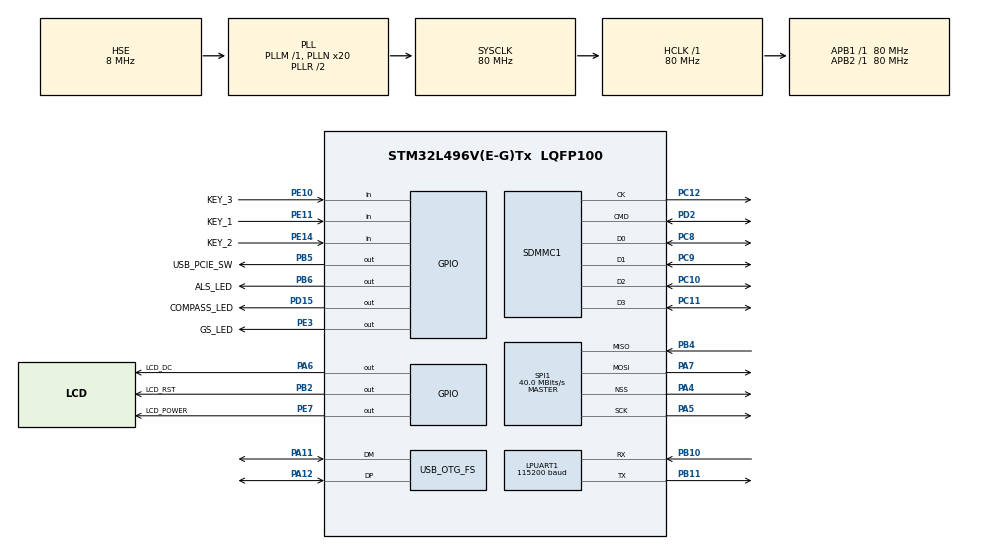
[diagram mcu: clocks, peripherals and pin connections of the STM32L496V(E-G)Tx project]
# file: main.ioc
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FATFS._CODE_PAGE=936
FATFS._USE_FIND=1
FATFS._USE_FORWARD=1
FATFS._USE_LABEL=1
FATFS._USE_LFN=2
LPUART1.BaudRate=115200
LPUART1.WordLength=UART_WORDLENGTH_8B
Mcu.Family=STM32L4
Mcu.Name=STM32L496V(E-G)Tx
Mcu.Package=LQFP100
NVIC.OTG_FS_IRQn=true\:0\:0\:false\:false\:true\:true\:true
NVIC.PriorityGroup=NVIC_PRIORITYGROUP_4
PA11.Mode=Device_Only
PA11.Signal=USB_OTG_FS_DM
PA12.Mode=Device_Only
PA12.Signal=USB_OTG_FS_DP
PA13\ (JTMS/SWDIO).Mode=Serial_Wire
PA13\ (JTMS/SWDIO).Signal=SYS_JTMS-SWDIO
PA14\ (JTCK/SWCLK).Mode=Serial_Wire
PA14\ (JTCK/SWCLK).Signal=SYS_JTCK-SWCLK
PA4.Mode=NSS_Signal_Hard_Output
PA4.Signal=SPI1_NSS
PA5.Mode=Full_Duplex_Master
PA5.Signal=SPI1_SCK
PA6.GPIO_Label=LCD_DC
PA6.GPIO_Speed=GPIO_SPEED_FREQ_VERY_HIGH
PA6.Signal=GPIO_Output
PA7.Mode=Full_Duplex_Master
PA7.Signal=SPI1_MOSI
PB10.Mode=Asynchronous
PB10.Signal=LPUART1_RX
PB11.Mode=Asynchronous
PB11.Signal=LPUART1_TX
PB2.GPIO_Label=LCD_RST
PB2.GPIO_Speed=GPIO_SPEED_FREQ_VERY_HIGH
PB2.Signal=GPIO_Output
PB4\ (NJTRST).Mode=Full_Duplex_Master
PB4\ (NJTRST).Signal=SPI1_MISO
PB5.GPIO_Label=USB_PCIE_SW
PB5.GPIO_Speed=GPIO_SPEED_FREQ_VERY_HIGH
PB5.PinState=GPIO_PIN_SET
PB5.Signal=GPIO_Output
PB6.GPIO_Label=ALS_LED
PB6.GPIO_Speed=GPIO_SPEED_FREQ_VERY_HIGH
PB6.Signal=GPIO_Output
PC10.Mode=SD_4_bits_Wide_bus
PC10.Signal=SDMMC1_D2
PC11.Mode=SD_4_bits_Wide_bus
PC11.Signal=SDMMC1_D3
PC12.Mode=SD_4_bits_Wide_bus
PC12.Signal=SDMMC1_CK
PC8.Mode=SD_4_bits_Wide_bus
PC8.Signal=SDMMC1_D0
PC9.Mode=SD_4_bits_Wide_bus
PC9.Signal=SDMMC1_D1
PD15.GPIO_Label=COMPASS_LED
PD15.GPIO_Speed=GPIO_SPEED_FREQ_VERY_HIGH
PD15.Signal=GPIO_Output
PD2.Mode=SD_4_bits_Wide_bus
PD2.Signal=SDMMC1_CMD
PE10.GPIO_Label=KEY_3
PE10.GPIO_PuPd=GPIO_PULLUP
PE10.Signal=GPIO_Input
PE11.GPIO_Label=KEY_1
PE11.GPIO_PuPd=GPIO_PULLUP
PE11.Signal=GPIO_Input
PE14.GPIO_Label=KEY_2
PE14.GPIO_PuPd=GPIO_PULLUP
PE14.Signal=GPIO_Input
PE3.GPIO_Label=GS_LED
PE3.GPIO_Speed=GPIO_SPEED_FREQ_VERY_HIGH
PE3.Signal=GPIO_Output
PE7.GPIO_Label=LCD_POWER
PE7.GPIO_Speed=GPIO_SPEED_FREQ_VERY_HIGH
PE7.Signal=GPIO_Output
PH0-OSC_IN\ (PH0).Mode=HSE-External-Oscillator
PH0-OSC_IN\ (PH0).Signal=RCC_OSC_IN
PH1-OSC_OUT\ (PH1).Mode=HSE-External-Oscillator
PH1-OSC_OUT\ (PH1).Signal=RCC_OSC_OUT
ProjectManager.HeapSize=0x2000
ProjectManager.StackSize=0x2000
ProjectManager.TargetToolchain=MDK-ARM V5
RCC.ADCFreq_Value=48000000
RCC.AHBFreq_Value=80000000
RCC.APB1Freq_Value=80000000
RCC.APB1TimFreq_Value=80000000
RCC.APB2Freq_Value=80000000
RCC.APB2TimFreq_Value=80000000
RCC.CortexFreq_Value=80000000
RCC.HCLKFreq_Value=80000000
RCC.HSE_VALUE=8000000
RCC.HSI48_VALUE=48000000
RCC.HSI_VALUE=16000000
RCC.LSE_VALUE=32768
RCC.MSI_VALUE=4000000
RCC.PLLN=20
RCC.PLLSAI1N=12
RCC.PLLSourceVirtual=RCC_PLLSOURCE_HSE
RCC.SYSCLKFreq_VALUE=80000000
RCC.SYSCLKSource=RCC_SYSCLKSOURCE_PLLCLK
RCC.USBFreq_Value=48000000
RCC.VCOOutputFreq_Value=160000000
SDMMC1.ClockDiv=9
SPI1.CalculateBaudRate=40.0 MBits/s
SPI1.DataSize=SPI_DATASIZE_8BIT
SPI1.Direction=SPI_DIRECTION_2LINES
SPI1.Mode=SPI_MODE_MASTER
SPI1.VirtualNSS=VM_NSSHARD
SPI1.VirtualType=VM_MASTER
USB_DEVICE.CLASS_NAME_FS=MSC
USB_DEVICE.MSC_MEDIA_PACKET=4096
USB_DEVICE.VirtualMode=Msc
USB_DEVICE.VirtualModeFS=Msc_FS
USB_OTG_FS.VirtualMode=Device_Only
VP_FATFS_VS_SDIO.Mode=SDIO
VP_USB_DEVICE_VS_USB_DEVICE_MSC_FS.Mode=MSC_FS
board=custom

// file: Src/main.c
/* USER CODE BEGIN Header */
/**
  ******************************************************************************
  * @file           : main.c
  * @brief          : Main program body
  ******************************************************************************
  * @attention
  *
  * <h2><center>&copy; Copyright (c) 2021 STMicroelectronics.
  * All rights reserved.</center></h2>
  *
  * This software component is licensed by ST under BSD 3-Clause license,
  * the "License"; You may not use this file except in compliance with the
  * License. You may obtain a copy of the License at:
  *                        opensource.org/licenses/BSD-3-Clause
  *
  ******************************************************************************
  */
/* USER CODE END Header */
#include "main.h"
#include "fatfs.h"
#include "usart.h"
#include "sdmmc.h"
#include "spi.h"
#include "usb_device.h"
#include "gpio.h"

void SystemClock_Config(void);

/* USER CODE BEGIN 0 */
/*挂载SD卡*/
int Mount_SD_Fatfs(void)
{
    /*挂载SD卡*/
    retSD = f_mount(&SDFatFS, SDPath, 1);

    if(FR_OK != retSD)
		{
				printf("SD卡文件系统挂载失败!\n");
        return -1 ;
		}
    printf("SD卡文件系统挂载成功!\n");
    return 0 ;
}
/* USER CODE END 0 */

int main(void)
{

  /* MCU Configuration--------------------------------------------------------*/

  /* Reset of all peripherals, Initializes the Flash interface and the Systick. */
  HAL_Init();

  /* Configure the system clock */
  SystemClock_Config();

  /* Initialize all configured peripherals */
  MX_GPIO_Init();
  MX_LPUART1_UART_Init();
  MX_SPI1_Init();
  MX_SDMMC1_SD_Init();
  MX_FATFS_Init();
  MX_USB_DEVICE_Init();
  /* USER CODE BEGIN 2 */
	Mount_SD_Fatfs();
  HAL_GPIO_WritePin(GS_LED_GPIO_Port, GS_LED_Pin, GPIO_PIN_SET);
  HAL_GPIO_WritePin(COMPASS_LED_GPIO_Port, COMPASS_LED_Pin, GPIO_PIN_SET);
  HAL_GPIO_WritePin(ALS_LED_GPIO_Port, ALS_LED_Pin, GPIO_PIN_SET);
  /* USER CODE END 2 */

  /* Infinite loop */
  while (1)
  {

    /* USER CODE BEGIN 3 */
		HAL_GPIO_TogglePin(GS_LED_GPIO_Port, GS_LED_Pin);
		HAL_GPIO_TogglePin(COMPASS_LED_GPIO_Port, COMPASS_LED_Pin);
		HAL_GPIO_TogglePin(ALS_LED_GPIO_Port, ALS_LED_Pin);
		HAL_Delay(200);
  }
  /* USER CODE END 3 */
}

void SystemClock_Config(void)
{
  RCC_OscInitTypeDef RCC_OscInitStruct = {0};
  RCC_ClkInitTypeDef RCC_ClkInitStruct = {0};
  RCC_PeriphCLKInitTypeDef PeriphClkInit = {0};

  /** Initializes the RCC Oscillators according to the specified parameters
  * in the RCC_OscInitTypeDef structure.
  */
  RCC_OscInitStruct.OscillatorType = RCC_OSCILLATORTYPE_HSE;
  RCC_OscInitStruct.HSEState = RCC_HSE_ON;
  RCC_OscInitStruct.PLL.PLLState = RCC_PLL_ON;
  RCC_OscInitStruct.PLL.PLLSource = RCC_PLLSOURCE_HSE;
  RCC_OscInitStruct.PLL.PLLM = 1;
  RCC_OscInitStruct.PLL.PLLN = 20;
  RCC_OscInitStruct.PLL.PLLP = RCC_PLLP_DIV2;
  RCC_OscInitStruct.PLL.PLLQ = RCC_PLLQ_DIV2;
  RCC_OscInitStruct.PLL.PLLR = RCC_PLLR_DIV2;
  if (HAL_RCC_OscConfig(&RCC_OscInitStruct) != HAL_OK)
  {
    Error_Handler();
  }
  /** Initializes the CPU, AHB and APB buses clocks
  */
  RCC_ClkInitStruct.ClockType = RCC_CLOCKTYPE_HCLK|RCC_CLOCKTYPE_SYSCLK
                              |RCC_CLOCKTYPE_PCLK1|RCC_CLOCKTYPE_PCLK2;
  RCC_ClkInitStruct.SYSCLKSource = RCC_SYSCLKSOURCE_PLLCLK;
  RCC_ClkInitStruct.AHBCLKDivider = RCC_SYSCLK_DIV1;
  RCC_ClkInitStruct.APB1CLKDivider = RCC_HCLK_DIV1;
  RCC_ClkInitStruct.APB2CLKDivider = RCC_HCLK_DIV1;

  if (HAL_RCC_ClockConfig(&RCC_ClkInitStruct, FLASH_LATENCY_4) != HAL_OK)
  {
    Error_Handler();
  }
  PeriphClkInit.PeriphClockSelection = RCC_PERIPHCLK_LPUART1|RCC_PERIPHCLK_USB
                              |RCC_PERIPHCLK_SDMMC1;
  PeriphClkInit.Lpuart1ClockSelection = RCC_LPUART1CLKSOURCE_PCLK1;
  PeriphClkInit.UsbClockSelection = RCC_USBCLKSOURCE_PLLSAI1;
  PeriphClkInit.Sdmmc1ClockSelection = RCC_SDMMC1CLKSOURCE_PLLSAI1;
  PeriphClkInit.PLLSAI1.PLLSAI1Source = RCC_PLLSOURCE_HSE;
  PeriphClkInit.PLLSAI1.PLLSAI1M = 1;
  PeriphClkInit.PLLSAI1.PLLSAI1N = 12;
  PeriphClkInit.PLLSAI1.PLLSAI1P = RCC_PLLP_DIV2;
  PeriphClkInit.PLLSAI1.PLLSAI1Q = RCC_PLLQ_DIV2;
  PeriphClkInit.PLLSAI1.PLLSAI1R = RCC_PLLR_DIV2;
  PeriphClkInit.PLLSAI1.PLLSAI1ClockOut = RCC_PLLSAI1_48M2CLK;
  if (HAL_RCCEx_PeriphCLKConfig(&PeriphClkInit) != HAL_OK)
  {
    Error_Handler();
  }
  /** Configure the main internal regulator output voltage
  */
  if (HAL_PWREx_ControlVoltageScaling(PWR_REGULATOR_VOLTAGE_SCALE1) != HAL_OK)
  {
    Error_Handler();
  }
}

void Error_Handler(void)
{
  __disable_irq();
  while (1)
  {
  }
}

/************************ (C) COPYRIGHT STMicroelectronics *****END OF FILE****/
